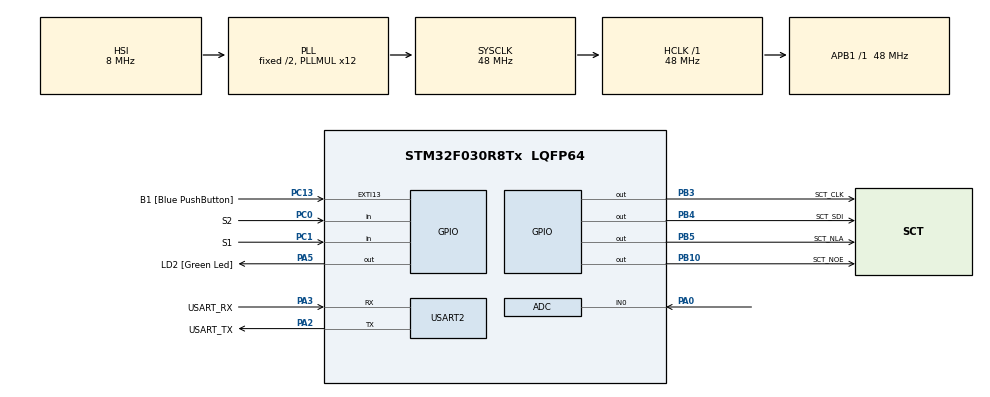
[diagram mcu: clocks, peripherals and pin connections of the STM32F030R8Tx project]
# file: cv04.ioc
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ADC.ContinuousConvMode=ENABLE
ADC.SamplingTime=ADC_SAMPLETIME_239CYCLES_5
Mcu.Family=STM32F0
Mcu.Name=STM32F030R8Tx
Mcu.Package=LQFP64
NVIC.ADC1_IRQn=true\:0\:0\:false\:false\:true\:true\:true\:true
PA0.Mode=IN0
PA0.Signal=ADC_IN0
PA13.GPIO_Label=TMS
PA13.Mode=Serial_Wire
PA13.Signal=SYS_SWDIO
PA14.GPIO_Label=TCK
PA14.Mode=Serial_Wire
PA14.Signal=SYS_SWCLK
PA2.GPIO_Label=USART_TX
PA2.GPIO_Mode=GPIO_MODE_AF_PP
PA2.GPIO_PuPd=GPIO_NOPULL
PA2.GPIO_Speed=GPIO_SPEED_FREQ_LOW
PA2.Mode=Asynchronous
PA2.Signal=USART2_TX
PA3.GPIO_Label=USART_RX
PA3.GPIO_Mode=GPIO_MODE_AF_PP
PA3.GPIO_PuPd=GPIO_NOPULL
PA3.GPIO_Speed=GPIO_SPEED_FREQ_LOW
PA3.Mode=Asynchronous
PA3.Signal=USART2_RX
PA5.GPIO_Label=LD2 [Green Led]
PA5.GPIO_Mode=GPIO_MODE_OUTPUT_PP
PA5.GPIO_PuPd=GPIO_NOPULL
PA5.GPIO_Speed=GPIO_SPEED_FREQ_LOW
PA5.Signal=GPIO_Output
PB10.GPIO_Label=SCT_NOE
PB10.Signal=GPIO_Output
PB3.GPIO_Label=SCT_CLK
PB3.Signal=GPIO_Output
PB4.GPIO_Label=SCT_SDI
PB4.Signal=GPIO_Output
PB5.GPIO_Label=SCT_NLA
PB5.Signal=GPIO_Output
PC0.GPIO_Label=S2
PC0.GPIO_PuPd=GPIO_PULLUP
PC0.Signal=GPIO_Input
PC1.GPIO_Label=S1
PC1.GPIO_PuPd=GPIO_PULLUP
PC1.Signal=GPIO_Input
PC13.GPIO_Label=B1 [Blue PushButton]
PC13.GPIO_ModeDefaultEXTI=GPIO_MODE_IT_FALLING
PC13.Signal=GPXTI13
PC14-OSC32_IN.Mode=LSE-External-Oscillator
PC14-OSC32_IN.Signal=RCC_OSC32_IN
PC15-OSC32_OUT.Mode=LSE-External-Oscillator
PC15-OSC32_OUT.Signal=RCC_OSC32_OUT
PF0-OSC_IN.Mode=HSE-External-Clock-Source
PF0-OSC_IN.Signal=RCC_OSC_IN
PF1-OSC_OUT.Signal=RCC_OSC_OUT
ProjectManager.HeapSize=0x200
ProjectManager.StackSize=0x400
ProjectManager.TargetToolchain=STM32CubeIDE
RCC.AHBFreq_Value=48000000
RCC.APB1Freq_Value=48000000
RCC.APB1TimFreq_Value=48000000
RCC.HCLKFreq_Value=48000000
RCC.PLLMUL=RCC_PLL_MUL12
RCC.SYSCLKFreq_VALUE=48000000
RCC.SYSCLKSource=RCC_SYSCLKSOURCE_PLLCLK
USART2.VirtualMode-Asynchronous=VM_ASYNC
VP_ADC_TempSens_Input.Mode=IN-TempSens
VP_ADC_Vref_Input.Mode=IN-Vrefint
board=NUCLEO-F030R8

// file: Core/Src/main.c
/* USER CODE BEGIN Header */
/**
  ******************************************************************************
  * @file           : main.c
  * @brief          : Main program body
  ******************************************************************************
  * @attention
  *
  * Copyright (c) 2022 STMicroelectronics.
  * All rights reserved.
  *
  * This software is licensed under terms that can be found in the LICENSE file
  * in the root directory of this software component.
  * If no LICENSE file comes with this software, it is provided AS-IS.
  *
  ******************************************************************************
  */
/* USER CODE END Header */
#include "main.h"

/* USER CODE BEGIN Includes */
#include "sct.h"
/* USER CODE END Includes */

/* USER CODE BEGIN PTD */
#define DISPLAY_PERIOD 50  //50 ms
#define SHOW_TIME 1000     //1000 ms
/* USER CODE END PTD */

/* USER CODE BEGIN PD */
#define ADC_Q 13

/* Temperature sensor calibration value address */
#define TEMP110_CAL_ADDR ((uint16_t*) ((uint32_t) 0x1FFFF7C2))
#define TEMP30_CAL_ADDR ((uint16_t*) ((uint32_t) 0x1FFFF7B8))

/* Internal voltage reference calibration value address */
#define VREFINT_CAL_ADDR ((uint16_t*) ((uint32_t) 0x1FFFF7BA))

/* USER CODE END PD */

ADC_HandleTypeDef hadc;

UART_HandleTypeDef huart2;

/* USER CODE BEGIN PV */
static volatile uint32_t raw_pot;
static volatile uint32_t raw_volt;
static volatile uint32_t raw_temp;
/* USER CODE END PV */

void SystemClock_Config(void);
static void MX_GPIO_Init(void);
static void MX_USART2_UART_Init(void);
static void MX_ADC_Init(void);

/* USER CODE BEGIN 0 */

void HAL_ADC_ConvCpltCallback(ADC_HandleTypeDef* hadc)
{
	//raw_pot = HAL_ADC_GetValue(hadc);
	static uint32_t avg_pot = 0;
	static uint32_t channel;
	if(channel == 0) {
		raw_pot = avg_pot >> ADC_Q;
		avg_pot -= raw_pot;
		avg_pot += HAL_ADC_GetValue(hadc);
	}
	else if(channel == 1) {
		raw_temp = HAL_ADC_GetValue(hadc);
	}
	else if(channel == 2) {
		raw_volt =  HAL_ADC_GetValue(hadc);
	}
	if (__HAL_ADC_GET_FLAG(hadc, ADC_FLAG_EOS)) channel = 0;
	else channel++;
}

/* USER CODE END 0 */

int main(void)
{

  /* MCU Configuration--------------------------------------------------------*/

  /* Reset of all peripherals, Initializes the Flash interface and the Systick. */
  HAL_Init();

  /* Configure the system clock */
  SystemClock_Config();

  /* Initialize all configured peripherals */
  MX_GPIO_Init();
  MX_USART2_UART_Init();
  MX_ADC_Init();
  /* USER CODE BEGIN 2 */

  sct_init();

  HAL_ADCEx_Calibration_Start(&hadc);
  HAL_ADC_Start_IT(&hadc);

  /* USER CODE END 2 */

  /* Infinite loop */
  /* USER CODE BEGIN WHILE */
  while (1) {
	  /*
	  static uint32_t lastDisplayTicks = 0;
	  if (HAL_GetTick() >= lastDisplayTicks + DISPLAY_PERIOD) {
		  lastDisplayTicks = HAL_GetTick();

		  sct_value(raw_pot * 500.5 / 4095, (raw_pot * 8.5 / 4095));

	  }*/

	  static enum { SHOW_POT, SHOW_VOLT, SHOW_TEMP } state = SHOW_POT;
	  static uint32_t lastBtnPress;

	  if(HAL_GPIO_ReadPin(S1_GPIO_Port, S1_Pin)==0){
		  lastBtnPress = HAL_GetTick();
		  state = SHOW_VOLT;
	  }
	  if(HAL_GPIO_ReadPin(S2_GPIO_Port, S2_Pin)==0){
		  lastBtnPress = HAL_GetTick();
		  state = SHOW_TEMP;
	  }

	  if(HAL_GetTick() >= lastBtnPress + SHOW_TIME) {
		  state = SHOW_POT;
	  }

	  switch (state) {
		  case SHOW_POT: {
			  sct_value(raw_pot * 500.5 / 4095, (raw_pot * 8.5 / 4095));
			  break;
		  }
		  case SHOW_VOLT: {
			  uint32_t voltage = 330 * (*VREFINT_CAL_ADDR) / raw_volt;

			  sct_value(voltage, 1);
			  break;
		  }
		  case SHOW_TEMP: {
			  int32_t temperature = (raw_temp - (int32_t)(*TEMP30_CAL_ADDR));

			  temperature = temperature * (int32_t)(110 - 30);
			  temperature = temperature / (int32_t)(*TEMP110_CAL_ADDR - *TEMP30_CAL_ADDR);
			  temperature = temperature + 30;

			  sct_value(temperature, 2);
			  break;
		  }
		  default:;
		  }
		  HAL_Delay(50);

    /* USER CODE END WHILE */

  }
}

void SystemClock_Config(void)
{
  RCC_OscInitTypeDef RCC_OscInitStruct = {0};
  RCC_ClkInitTypeDef RCC_ClkInitStruct = {0};

  /** Initializes the RCC Oscillators according to the specified parameters
  * in the RCC_OscInitTypeDef structure.
  */
  RCC_OscInitStruct.OscillatorType = RCC_OSCILLATORTYPE_HSI|RCC_OSCILLATORTYPE_HSI14;
  RCC_OscInitStruct.HSIState = RCC_HSI_ON;
  RCC_OscInitStruct.HSI14State = RCC_HSI14_ON;
  RCC_OscInitStruct.HSICalibrationValue = RCC_HSICALIBRATION_DEFAULT;
  RCC_OscInitStruct.HSI14CalibrationValue = 16;
  RCC_OscInitStruct.PLL.PLLState = RCC_PLL_ON;
  RCC_OscInitStruct.PLL.PLLSource = RCC_PLLSOURCE_HSI;
  RCC_OscInitStruct.PLL.PLLMUL = RCC_PLL_MUL12;
  RCC_OscInitStruct.PLL.PREDIV = RCC_PREDIV_DIV1;
  if (HAL_RCC_OscConfig(&RCC_OscInitStruct) != HAL_OK)
  {
    Error_Handler();
  }

  /** Initializes the CPU, AHB and APB buses clocks
  */
  RCC_ClkInitStruct.ClockType = RCC_CLOCKTYPE_HCLK|RCC_CLOCKTYPE_SYSCLK
                              |RCC_CLOCKTYPE_PCLK1;
  RCC_ClkInitStruct.SYSCLKSource = RCC_SYSCLKSOURCE_PLLCLK;
  RCC_ClkInitStruct.AHBCLKDivider = RCC_SYSCLK_DIV1;
  RCC_ClkInitStruct.APB1CLKDivider = RCC_HCLK_DIV1;

  if (HAL_RCC_ClockConfig(&RCC_ClkInitStruct, FLASH_LATENCY_1) != HAL_OK)
  {
    Error_Handler();
  }
}

static void MX_ADC_Init(void)
{

  ADC_ChannelConfTypeDef sConfig = {0};

  /** Configure the global features of the ADC (Clock, Resolution, Data Alignment and number of conversion)
  */
  hadc.Instance = ADC1;
  hadc.Init.ClockPrescaler = ADC_CLOCK_ASYNC_DIV1;
  hadc.Init.Resolution = ADC_RESOLUTION_12B;
  hadc.Init.DataAlign = ADC_DATAALIGN_RIGHT;
  hadc.Init.ScanConvMode = ADC_SCAN_DIRECTION_FORWARD;
  hadc.Init.EOCSelection = ADC_EOC_SINGLE_CONV;
  hadc.Init.LowPowerAutoWait = DISABLE;
  hadc.Init.LowPowerAutoPowerOff = DISABLE;
  hadc.Init.ContinuousConvMode = ENABLE;
  hadc.Init.DiscontinuousConvMode = DISABLE;
  hadc.Init.ExternalTrigConv = ADC_SOFTWARE_START;
  hadc.Init.ExternalTrigConvEdge = ADC_EXTERNALTRIGCONVEDGE_NONE;
  hadc.Init.DMAContinuousRequests = DISABLE;
  hadc.Init.Overrun = ADC_OVR_DATA_PRESERVED;
  if (HAL_ADC_Init(&hadc) != HAL_OK)
  {
    Error_Handler();
  }

  /** Configure for the selected ADC regular channel to be converted.
  */
  sConfig.Channel = ADC_CHANNEL_0;
  sConfig.Rank = ADC_RANK_CHANNEL_NUMBER;
  sConfig.SamplingTime = ADC_SAMPLETIME_239CYCLES_5;
  if (HAL_ADC_ConfigChannel(&hadc, &sConfig) != HAL_OK)
  {
    Error_Handler();
  }

  /** Configure for the selected ADC regular channel to be converted.
  */
  sConfig.Channel = ADC_CHANNEL_TEMPSENSOR;
  if (HAL_ADC_ConfigChannel(&hadc, &sConfig) != HAL_OK)
  {
    Error_Handler();
  }

  /** Configure for the selected ADC regular channel to be converted.
  */
  sConfig.Channel = ADC_CHANNEL_VREFINT;
  if (HAL_ADC_ConfigChannel(&hadc, &sConfig) != HAL_OK)
  {
    Error_Handler();
  }

}

static void MX_USART2_UART_Init(void)
{

  huart2.Instance = USART2;
  huart2.Init.BaudRate = 38400;
  huart2.Init.WordLength = UART_WORDLENGTH_8B;
  huart2.Init.StopBits = UART_STOPBITS_1;
  huart2.Init.Parity = UART_PARITY_NONE;
  huart2.Init.Mode = UART_MODE_TX_RX;
  huart2.Init.HwFlowCtl = UART_HWCONTROL_NONE;
  huart2.Init.OverSampling = UART_OVERSAMPLING_16;
  huart2.Init.OneBitSampling = UART_ONE_BIT_SAMPLE_DISABLE;
  huart2.AdvancedInit.AdvFeatureInit = UART_ADVFEATURE_NO_INIT;
  if (HAL_UART_Init(&huart2) != HAL_OK)
  {
    Error_Handler();
  }

}

static void MX_GPIO_Init(void)
{
  GPIO_InitTypeDef GPIO_InitStruct = {0};

  /* GPIO Ports Clock Enable */
  __HAL_RCC_GPIOC_CLK_ENABLE();
  __HAL_RCC_GPIOF_CLK_ENABLE();
  __HAL_RCC_GPIOA_CLK_ENABLE();
  __HAL_RCC_GPIOB_CLK_ENABLE();

  /*Configure GPIO pin Output Level */
  HAL_GPIO_WritePin(GPIOA, GPIO_PIN_5, GPIO_PIN_RESET);

  /*Configure GPIO pin Output Level */
  HAL_GPIO_WritePin(GPIOB, GPIO_PIN_10|GPIO_PIN_3|GPIO_PIN_4|GPIO_PIN_5, GPIO_PIN_RESET);

  /*Configure GPIO pin : PC13 */
  GPIO_InitStruct.Pin = GPIO_PIN_13;
  GPIO_InitStruct.Mode = GPIO_MODE_IT_FALLING;
  GPIO_InitStruct.Pull = GPIO_NOPULL;
  HAL_GPIO_Init(GPIOC, &GPIO_InitStruct);

  /*Configure GPIO pins : PC0 PC1 */
  GPIO_InitStruct.Pin = GPIO_PIN_0|GPIO_PIN_1;
  GPIO_InitStruct.Mode = GPIO_MODE_INPUT;
  GPIO_InitStruct.Pull = GPIO_PULLUP;
  HAL_GPIO_Init(GPIOC, &GPIO_InitStruct);

  /*Configure GPIO pin : PA5 */
  GPIO_InitStruct.Pin = GPIO_PIN_5;
  GPIO_InitStruct.Mode = GPIO_MODE_OUTPUT_PP;
  GPIO_InitStruct.Pull = GPIO_NOPULL;
  GPIO_InitStruct.Speed = GPIO_SPEED_FREQ_LOW;
  HAL_GPIO_Init(GPIOA, &GPIO_InitStruct);

  /*Configure GPIO pins : PB10 PB3 PB4 PB5 */
  GPIO_InitStruct.Pin = GPIO_PIN_10|GPIO_PIN_3|GPIO_PIN_4|GPIO_PIN_5;
  GPIO_InitStruct.Mode = GPIO_MODE_OUTPUT_PP;
  GPIO_InitStruct.Pull = GPIO_NOPULL;
  GPIO_InitStruct.Speed = GPIO_SPEED_FREQ_LOW;
  HAL_GPIO_Init(GPIOB, &GPIO_InitStruct);

}

void Error_Handler(void)
{
  __disable_irq();
  while (1)
  {
  }
}
